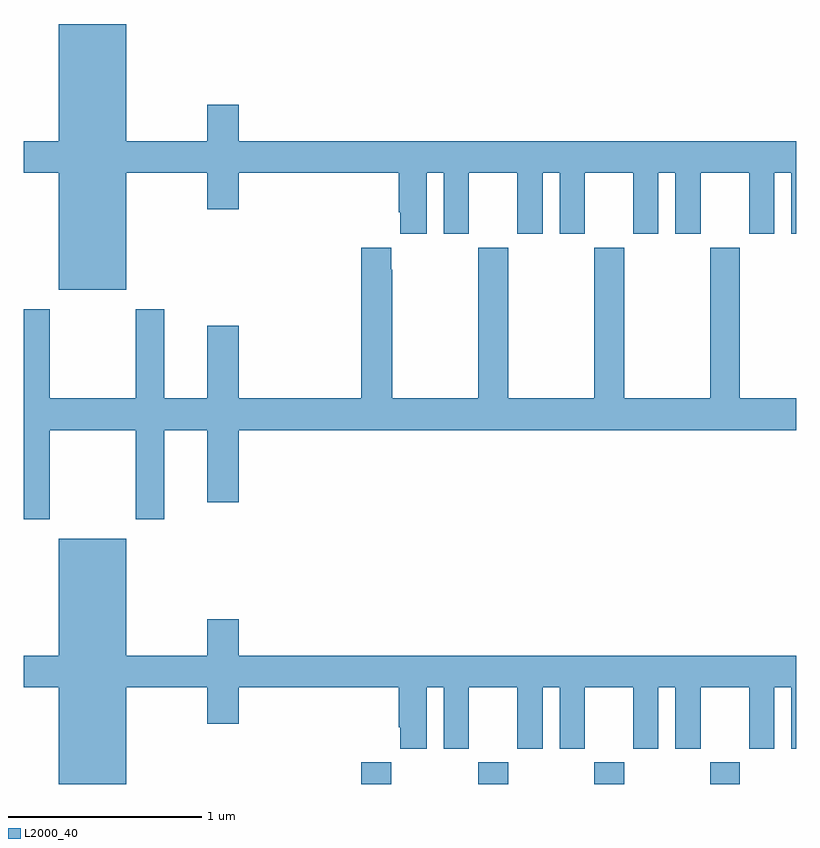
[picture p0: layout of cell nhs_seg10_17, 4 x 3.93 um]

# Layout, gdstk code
import gdstk
lib = gdstk.Library(unit=1e-6, precision=1e-09)
def R(c, l, rs):  # rectangles x0, y0, x1, y1
    for r in rs: c.add(gdstk.rectangle(r[:2], r[2:], *l))
def A(c, l, x, y, w, h, nx, ny, dx, dy):  # array of equal rectangles
    R(c, l, [(x+i*dx, y+j*dy, x+i*dx+w, y+j*dy+h) for i in range(nx) for j in range(ny)])
def P(c, l, *ps):  # polygons
    for p in ps: c.add(gdstk.Polygon(p, *l))
L2000_40 = (2000, 40)

nhs_seg10_17 = lib.new_cell('nhs_seg10_17')
A(nhs_seg10_17, L2000_40, 113.353, 1282.5, 0.155, 0.112, 3, 1, 0.6, 0)
R(nhs_seg10_17, L2000_40, [(112.748,1282.5,112.903,1282.612)])
P(nhs_seg10_17, L2000_40, [(111.532,1285.664),(111.95,1285.664),(111.95,1285.476),(112.114,1285.476),(112.114,1285.664),(112.943,1285.664),(112.943,1285.459),(112.949,1285.459),(112.949,1285.347),(113.086,1285.347),(113.086,1285.664),(113.174,1285.664),(113.174,1285.347),(113.305,1285.347),(113.305,1285.664),(113.555,1285.664),(113.555,1285.347),(113.686,1285.347),(113.686,1285.664),(113.774,1285.664),(113.774,1285.347),(113.905,1285.347),(113.905,1285.664),(114.155,1285.664),(114.155,1285.347),(114.286,1285.347),(114.286,1285.664),(114.374,1285.664),(114.374,1285.347),(114.505,1285.347),(114.505,1285.664),(114.755,1285.664),(114.755,1285.347),(114.886,1285.347),(114.886,1285.664),(114.974,1285.664),(114.974,1285.347),(115,1285.347),(115,1285.828),(112.114,1285.828),(112.114,1286.017),(111.95,1286.017),(111.95,1285.828),(111.532,1285.828),(111.532,1286.434),(111.182,1286.434),(111.182,1285.828),(111,1285.828),(111,1285.664),(111.182,1285.664),(111.182,1285.058),(111.532,1285.058)],
  [(111.135,1284.332),(111.58,1284.332),(111.58,1283.871),(111.727,1283.871),(111.727,1284.332),(111.95,1284.332),(111.95,1283.958),(112.114,1283.958),(112.114,1284.332),(115,1284.332),(115,1284.496),(114.708,1284.496),(114.708,1285.276),(114.553,1285.276),(114.553,1284.496),(114.108,1284.496),(114.108,1285.276),(113.953,1285.276),(113.953,1284.496),(113.508,1284.496),(113.508,1285.276),(113.353,1285.276),(113.353,1284.496),(112.908,1284.496),(112.908,1285.163),(112.903,1285.163),(112.903,1285.276),(112.748,1285.276),(112.748,1284.496),(112.114,1284.496),(112.114,1284.871),(111.95,1284.871),(111.95,1284.496),(111.727,1284.496),(111.727,1284.958),(111.58,1284.958),(111.58,1284.496),(111.135,1284.496),(111.135,1284.958),(111,1284.958),(111,1283.871),(111.135,1283.871)],
  [(111.532,1283),(111.95,1283),(111.95,1282.812),(112.114,1282.812),(112.114,1283),(112.943,1283),(112.943,1282.795),(112.949,1282.795),(112.949,1282.683),(113.086,1282.683),(113.086,1283),(113.174,1283),(113.174,1282.683),(113.305,1282.683),(113.305,1283),(113.555,1283),(113.555,1282.683),(113.686,1282.683),(113.686,1283),(113.774,1283),(113.774,1282.683),(113.905,1282.683),(113.905,1283),(114.155,1283),(114.155,1282.683),(114.286,1282.683),(114.286,1283),(114.374,1283),(114.374,1282.683),(114.505,1282.683),(114.505,1283),(114.755,1283),(114.755,1282.683),(114.886,1282.683),(114.886,1283),(114.974,1283),(114.974,1282.683),(115,1282.683),(115,1283.164),(112.114,1283.164),(112.114,1283.353),(111.95,1283.353),(111.95,1283.164),(111.532,1283.164),(111.532,1283.77),(111.182,1283.77),(111.182,1283.164),(111,1283.164),(111,1283),(111.182,1283),(111.182,1282.5),(111.532,1282.5)])

lib.write_gds('nhs_seg10_17.gds')
